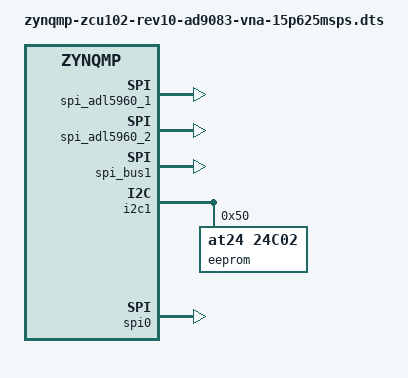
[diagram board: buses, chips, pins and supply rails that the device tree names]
// SPDX-License-Identifier: GPL-2.0
/*
 * Analog Devices AD9083-ADL5960
 * https://wiki.analog.com/resources/eval/dpg/ad9083-fmc-ebz
 * https://wiki.analog.com/resources/eval/dpg/eval-ad9083
 *
 * hdl_project: <adc_fmc_ebz/zcu102>
 * board_revision: <>
 *
 * Copyright (C) 2021 Analog Devices Inc.
 */

#include "zynqmp-zcu102-rev1.0.dts"
#include <dt-bindings/interrupt-controller/irq.h>
#include <dt-bindings/jesd204/adxcvr.h>

/ {
	fpga_axi: fpga-axi@0 {
		interrupt-parent = <&gic>;
		compatible = "simple-bus";
		#address-cells = <0x1>;
		#size-cells = <0x1>;
		ranges = <0 0 0 0xffffffff>;

		rx_dma: dma@9c400000 {
			compatible = "adi,axi-dmac-1.00.a";
			reg = <0x9c400000 0x10000>;
			#dma-cells = <1>;
			#clock-cells = <0>;
			interrupts = <0 109 IRQ_TYPE_LEVEL_HIGH>;
			clocks = <&zynqmp_clk 73>;
		};

		axi_ad9083_core_rx: axi-ad9083-rx-hpc@84a00000 {
			compatible = "adi,axi-ad9083-rx-1.0";
			reg = <0x84a00000 0x8000>;
			dmas = <&rx_dma 0>;
			dma-names = "rx";
			spibus-connected = <&adc0_ad9083>;

			jesd204-device;
			#jesd204-cells = <2>;
			jesd204-inputs = <&axi_ad9083_rx_jesd 0 0>;
		};

		axi_ad9083_rx_jesd: axi-jesd204-rx@0x84AA0000 {
			compatible = "adi,axi-jesd204-rx-1.0";
			reg = <0x84AA0000 0x1000>;

			interrupts = <0 108 IRQ_TYPE_LEVEL_HIGH>;

			clocks = <&zynqmp_clk 71>, <&ad9528 1>, <&axi_ad9083_adxcvr_rx 0>, <&axi_ad9083_adxcvr_rx 1>;
			clock-names = "s_axi_aclk", "device_clk", "lane_clk", "link_clk";

			#clock-cells = <0>;
			clock-output-names = "jesd_rx_lane_clk";

			jesd204-device;
			#jesd204-cells = <2>;
			jesd204-inputs = <&axi_ad9083_adxcvr_rx 0 0>;
		};

		axi_ad9083_adxcvr_rx: axi-adxcvr-rx@84a60000 {
			#address-cells = <1>;
			#size-cells = <0>;
			compatible = "adi,axi-adxcvr-1.0";
			reg = <0x84a60000 0x1000>;

			clocks = <&ad9528 3>;
			clock-names = "conv";

			#clock-cells = <1>;
			clock-output-names = "rx_gt_clk", "rx_out_clk";

			adi,sys-clk-select = <XCVR_QPLL>;
			adi,out-clk-select = <XCVR_PROGDIV_CLK>;
			adi,use-lpm-enable;

			jesd204-device;
			#jesd204-cells = <2>;
			jesd204-inputs = <&ad9528 0 0>;
		};

		spi_adl5960_1: spi@88100000 {
			bits-per-word = <8>;
			clock-names = "ext_spi_clk", "s_axi_aclk";
			clocks = <&zynqmp_clk 71>, <&zynqmp_clk 71>;
			compatible = "xlnx,axi-quad-spi-3.2", "xlnx,xps-spi-2.00.a";
			fifo-size = <16>;
			interrupt-names = "ip2intc_irpt";
			interrupt-parent = <&gic>;
			interrupts = <0 106 1>;
			num-cs = <0x4>;
			reg = <0x88100000 0x1000>;
			xlnx,num-ss-bits = <0x4>;
			xlnx,spi-mode = <0>;
			#address-cells = <1>;
			#size-cells = <0>;
		};

		spi_adl5960_2: spi@88200000 {
			bits-per-word = <8>;
			clock-names = "ext_spi_clk", "s_axi_aclk";
			clocks = <&zynqmp_clk 71>, <&zynqmp_clk 71>;
			compatible = "xlnx,axi-quad-spi-3.2", "xlnx,xps-spi-2.00.a";
			fifo-size = <16>;
			interrupt-names = "ip2intc_irpt";
			interrupt-parent = <&gic>;
			interrupts = <0 107 1>;
			num-cs = <0x4>;
			reg = <0x88200000 0x1000>;
			xlnx,num-ss-bits = <0x4>;
			xlnx,spi-mode = <0>;
			#address-cells = <1>;
			#size-cells = <0>;
		};

		spi_bus1: spi@88000000 {
			bits-per-word = <8>;
			clock-names = "ext_spi_clk", "s_axi_aclk";
			clocks = <&zynqmp_clk 71>, <&zynqmp_clk 71>;
			compatible = "xlnx,axi-quad-spi-3.2", "xlnx,xps-spi-2.00.a";
			fifo-size = <16>;
			interrupt-names = "ip2intc_irpt";
			interrupt-parent = <&gic>;
			interrupts = <0 105 1>;
			num-cs = <0x2>;
			reg = <0x88000000 0x1000>;
			xlnx,num-ss-bits = <0x2>;
			xlnx,spi-mode = <0>;
			#address-cells = <1>;
			#size-cells = <0>;
		};

		axi_sysid_0: axi-sysid-0@85000000 {
			compatible = "adi,axi-sysid-1.00.a";
			reg = <0x85000000 0x10000>;
		};
	};
};

&i2c1 {
	i2c-mux@75 {
		i2c@0 {
			#address-cells = <1>;
			#size-cells = <0>;
			reg = <0>;
			/* HPC0_IIC */

			eeprom@50 {
				compatible = "at24,24c02";
				reg = <0x50>;
			};

		};
	};
};

&spi0 {
	status = "okay";
};

#include "adi-ad9083-vna.dtsi"

// gpio_sw3_v2	40 + 78
// gpio_sw4_v2	40 + 78
// gpio_sw3_v1	39 + 78
// gpio_sw4_v1	39 + 78
// gpio_sw2	38 + 78
// gpio_sw1	37 + 78
// gpio_sw0	36 + 78
// adl5960x_sync1	35 + 78
// refsel		34 + 78
// rstb		33 + 78
// pwdn		32 + 78

&adc0_ad9083 {
	pwdn-gpios = <&gpio 110 0>;
	//reset-gpios = <&gpio 111 0>;
};
